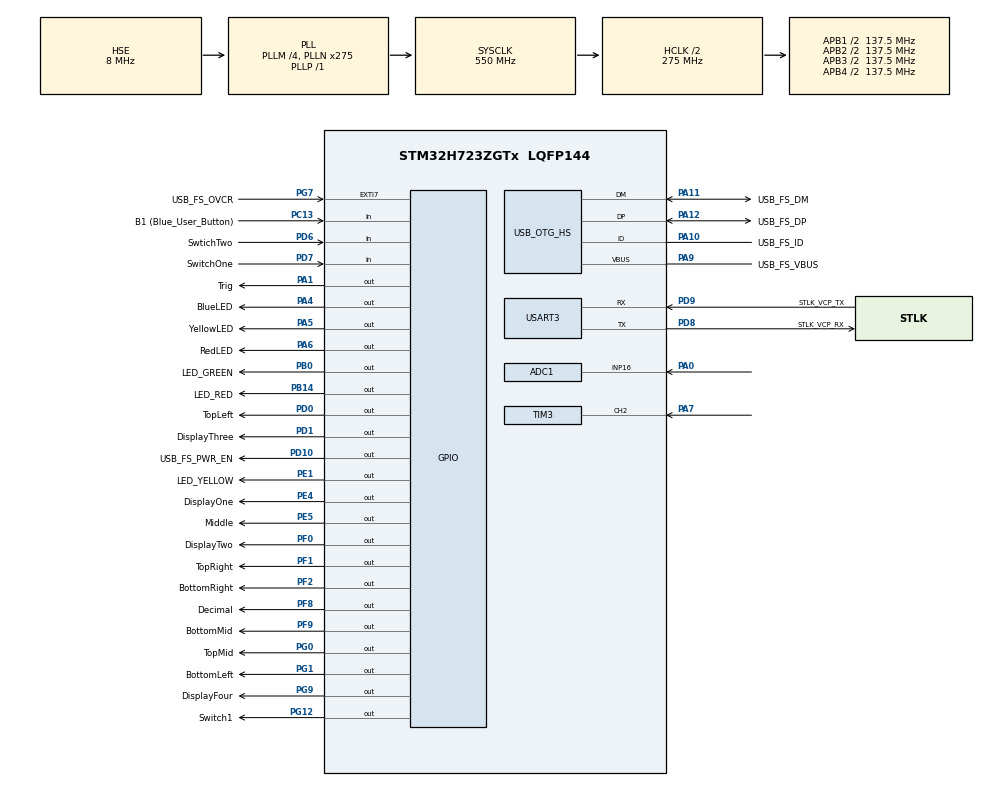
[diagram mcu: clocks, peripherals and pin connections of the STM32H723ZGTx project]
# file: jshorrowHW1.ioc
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ADC1.Channel-0\#ChannelRegularConversion=ADC_CHANNEL_16
ADC1.ClockPrescaler=ADC_CLOCK_SYNC_PCLK_DIV4
ADC1.ContinuousConvMode=DISABLE
ADC1.NbrOfConversionFlag=1
ADC1.OffsetNumber-0\#ChannelRegularConversion=ADC_OFFSET_NONE
ADC1.OffsetSignedSaturation-0\#ChannelRegularConversion=DISABLE
ADC1.Rank-0\#ChannelRegularConversion=1
ADC1.Resolution=ADC_RESOLUTION_12B
ADC1.SamplingTime-0\#ChannelRegularConversion=ADC_SAMPLETIME_1CYCLE_5
ADC1.master=1
Mcu.Family=STM32H7
Mcu.Name=STM32H723ZGTx
Mcu.Package=LQFP144
NVIC.PriorityGroup=NVIC_PRIORITYGROUP_4
NVIC.TIM2_IRQn=true\:0\:0\:false\:false\:true\:true\:true\:true
PA0.Mode=IN16-Single-Ended
PA0.Signal=ADC1_INP16
PA1.GPIO_Label=Trig
PA1.GPIO_Speed=GPIO_SPEED_FREQ_HIGH
PA1.Signal=GPIO_Output
PA10.GPIO_Label=USB_FS_ID
PA10.Mode=OTG/Dual-Role-Device-FS
PA10.Signal=USB_OTG_HS_ID
PA11.GPIO_Label=USB_FS_DM
PA11.Mode=OTG/Dual-Role-Device-FS
PA11.Signal=USB_OTG_HS_DM
PA12.GPIO_Label=USB_FS_DP
PA12.Mode=OTG/Dual-Role-Device-FS
PA12.Signal=USB_OTG_HS_DP
PA13(JTMS/SWDIO).GPIO_Label=SWDIO
PA13(JTMS/SWDIO).Mode=Trace_Asynchronous_SW
PA13(JTMS/SWDIO).Signal=DEBUG_JTMS-SWDIO
PA14(JTCK/SWCLK).GPIO_Label=SWCLK
PA14(JTCK/SWCLK).Mode=Trace_Asynchronous_SW
PA14(JTCK/SWCLK).Signal=DEBUG_JTCK-SWCLK
PA4.GPIO_Label=BlueLED
PA4.Signal=GPIO_Output
PA5.GPIO_Label=YellowLED
PA5.Signal=GPIO_Output
PA6.GPIO_Label=RedLED
PA6.Signal=GPIO_Output
PA7.Signal=S_TIM3_CH2
PA9.GPIO_Label=USB_FS_VBUS
PA9.Mode=Activate_VBUS_FS
PA9.Signal=USB_OTG_HS_VBUS
PB0.GPIO_Label=LED_GREEN
PB0.Signal=GPIO_Output
PB13.GPIO_Label=RMII_TXD1
PB13.Signal=ETH_TXD1
PB14.GPIO_Label=LED_RED
PB14.Signal=GPIO_Output
PB3(JTDO/TRACESWO).GPIO_Label=SWO
PB3(JTDO/TRACESWO).Mode=Trace_Asynchronous_SW
PB3(JTDO/TRACESWO).Signal=DEBUG_JTDO-SWO
PC1.GPIO_Label=RMII_MDC
PC1.Signal=ETH_MDC
PC13.GPIO_Label=B1 (Blue_User_Button)
PC13.Signal=GPIO_Input
PC14-OSC32_IN.Mode=LSE-External-Oscillator
PC14-OSC32_IN.Signal=RCC_OSC32_IN
PC15-OSC32_OUT.Mode=LSE-External-Oscillator
PC15-OSC32_OUT.Signal=RCC_OSC32_OUT
PC4.GPIO_Label=RMII_RXD0
PC4.Signal=ETH_RXD0
PC5.GPIO_Label=RMII_RXD1
PC5.Signal=ETH_RXD1
PD0.GPIO_Label=TopLeft
PD0.Signal=GPIO_Output
PD1.GPIO_Label=DisplayThree
PD1.Signal=GPIO_Output
PD10.GPIO_Label=USB_FS_PWR_EN
PD10.Signal=GPIO_Output
PD6.GPIO_Label=SwtichTwo
PD6.Signal=GPIO_Input
PD7.GPIO_Label=SwitchOne
PD7.Signal=GPIO_Input
PD8.GPIO_Label=STLK_VCP_RX
PD8.Mode=Asynchronous
PD8.Signal=USART3_TX
PD9.GPIO_Label=STLK_VCP_TX
PD9.Mode=Asynchronous
PD9.Signal=USART3_RX
PE1.GPIO_Label=LED_YELLOW
PE1.Signal=GPIO_Output
PE4.GPIO_Label=DisplayOne
PE4.Signal=GPIO_Output
PE5.GPIO_Label=Middle
PE5.Signal=GPIO_Output
PF0.GPIO_Label=DisplayTwo
PF0.Signal=GPIO_Output
PF1.GPIO_Label=TopRight
PF1.Signal=GPIO_Output
PF2.GPIO_Label=BottomRight
PF2.Signal=GPIO_Output
PF8.GPIO_Label=Decimal
PF8.Signal=GPIO_Output
PF9.GPIO_Label=BottomMid
PF9.Signal=GPIO_Output
PG0.GPIO_Label=TopMid
PG0.Signal=GPIO_Output
PG1.GPIO_Label=BottomLeft
PG1.Signal=GPIO_Output
PG11.GPIO_Label=RMII_TX_EN
PG11.Signal=ETH_TX_EN
PG12.GPIO_Label=Switch1
PG12.Signal=GPIO_Output
PG13.GPIO_Label=RMII_TXD0
PG13.Signal=ETH_TXD0
PG7.GPIO_Label=USB_FS_OVCR
PG7.Signal=GPXTI7
PG9.GPIO_Label=DisplayFour
PG9.Signal=GPIO_Output
PH0-OSC_IN.GPIO_Label=MCO
PH0-OSC_IN.Mode=HSE-External-Clock-Source
PH0-OSC_IN.Signal=RCC_OSC_IN
PH1-OSC_OUT.Signal=RCC_OSC_OUT
ProjectManager.HeapSize=0x200
ProjectManager.StackSize=0x400
ProjectManager.TargetToolchain=STM32CubeIDE
RCC.ADCFreq_Value=96000000
RCC.APB1Freq_Value=137500000
RCC.APB2Freq_Value=137500000
RCC.APB3Freq_Value=137500000
RCC.APB4Freq_Value=137500000
RCC.CortexFreq_Value=550000000
RCC.D1PPRE=RCC_APB3_DIV2
RCC.D2PPRE1=RCC_APB1_DIV2
RCC.D2PPRE2=RCC_APB2_DIV2
RCC.D3PPRE=RCC_APB4_DIV2
RCC.DIVM1=4
RCC.DIVM2=1
RCC.DIVN1=275
RCC.DIVN2=24
RCC.DIVP1=1
RCC.DIVQ1=4
RCC.HCLKFreq_Value=275000000
RCC.HPRE=RCC_HCLK_DIV2
RCC.HSE_VALUE=8000000
RCC.PLLFRACN=0
RCC.PLLSourceVirtual=RCC_PLLSOURCE_HSE
RCC.SYSCLKFreq_VALUE=550000000
RCC.SYSCLKSource=RCC_SYSCLKSOURCE_PLLCLK
RCC.USBCLockSelection=RCC_USBCLKSOURCE_HSI48
RCC.USBFreq_Value=48000000
SH.S_TIM3_CH2.0=TIM3_CH2,Input_Capture2_from_TI2
TIM2.Period=499999
TIM2.Prescaler=549
TIM3.Channel-Input_Capture2_from_TI2=TIM_CHANNEL_2
TIM3.ICPolarity_CH2=TIM_INPUTCHANNELPOLARITY_BOTHEDGE
TIM3.Period=0xffff
TIM3.Prescaler=549
USART3.VirtualMode-Asynchronous=VM_ASYNC
VP_TIM2_VS_ClockSourceINT.Mode=Internal
VP_TIM3_VS_ClockSourceINT.Mode=Internal
board=NUCLEO-H723ZG

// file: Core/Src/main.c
/* USER CODE BEGIN Header */
/**
  ******************************************************************************
  * @file           : main.c
  * @brief          : Main program body
  ******************************************************************************
  * @attention
  *
  * Copyright (c) 2024 STMicroelectronics.
  * All rights reserved.
  *
  * This software is licensed under terms that can be found in the LICENSE file
  * in the root directory of this software component.
  * If no LICENSE file comes with this software, it is provided AS-IS.
  *
  ******************************************************************************
  */
/* USER CODE END Header */
#include "main.h"

/* USER CODE BEGIN Includes */
#include "stdio.h"
/* USER CODE END Includes */

ADC_HandleTypeDef hadc1;

TIM_HandleTypeDef htim2;
TIM_HandleTypeDef htim3;

UART_HandleTypeDef huart3;

/* USER CODE BEGIN PV */

uint32_t upperDisplay = 12;
uint32_t lowerDisplay = 34;

/* USER CODE END PV */

void SystemClock_Config(void);
static void MX_GPIO_Init(void);
static void MX_USART3_UART_Init(void);
static void MX_USB_OTG_HS_USB_Init(void);
static void MX_TIM2_Init(void);
static void MX_TIM3_Init(void);
static void MX_ADC1_Init(void);

int main(void)
{

  /* MCU Configuration--------------------------------------------------------*/

  /* Reset of all peripherals, Initializes the Flash interface and the Systick. */
  HAL_Init();

  /* Configure the system clock */
  SystemClock_Config();

  /* Initialize all configured peripherals */
  MX_GPIO_Init();
  MX_USART3_UART_Init();
  MX_USB_OTG_HS_USB_Init();
  MX_TIM2_Init();
  MX_TIM3_Init();
  MX_ADC1_Init();
  /* USER CODE BEGIN 2 */
#if Switch
  uint32_t check = 60000;
  uint32_t countOne = 0;
  uint32_t countTwo = check / 3;
  uint32_t countThree = countTwo * 2;

  uint16_t displayCount = 0;
  uint8_t displayIndex = 1;
  uint16_t displayCheck = 500;

  //toggleAndPrintGpioState(GPIOG, DisplayFour_Pin, (uint8_t*) "Display: 4");
#endif

  /* USER CODE END 2 */

  /* Infinite loop */
  while (1)
  {

    /* USER CODE BEGIN 3 */
  	HAL_TIM_Base_Start_IT(&htim2);
#if Blinky
  	toggleAndPrintGpioState(GPIOB, LED_RED_Pin, (uint8_t*) "STM: RED LED");
  	HAL_Delay(175);
  	toggleAndPrintGpioState(LED_YELLOW_GPIO_Port, LED_YELLOW_Pin, (uint8_t*) "STM: YELLOW LED");
  	HAL_Delay(175);
  	toggleAndPrintGpioState(GPIOB, LED_GREEN_Pin, (uint8_t*) "STM: GREEN LED");
  	HAL_Delay(175);
  	toggleAndPrintGpioState(GPIOA, YellowLED_Pin, (uint8_t*) "EXTERNAL: YELLOW LED");
  	HAL_Delay(175);
  	toggleAndPrintGpioState(GPIOA, BlueLED_Pin, (uint8_t*) "EXTERNAL: BLUE LED");
  	HAL_Delay(175);
  	toggleAndPrintGpioState(GPIOA, RedLED_Pin, (uint8_t*) "EXTERNAL: RED LED");
  	HAL_Delay(175);
#endif
#if Switch
  	// Check switches to see if things need to flip
  	// This runs so fast and there isnt a need for acuracy (like latching)
  	// so no need to debounce
  	switchToggle(GPIOD,
								 SwitchOne_Pin,
								 GPIOA,
								 YellowLED_Pin,
								 (uint8_t*) "External: Yellow");
  	switchToggle(GPIOD,
								 SwtichTwo_Pin                                                                                                                                                                ,
								 GPIOA,
								 BlueLED_Pin,
								 (uint8_t*) "External: Blue");
  	switchToggle(GPIOG,
								 Switch1_Pin                                                                                                                                                                ,
								 GPIOA,
								 RedLED_Pin,
								 (uint8_t*) "External: RED");

  	// This blinks the STM leds
  	// Just do some general incrementing in main because i dont want to hold up anything else
  	// Print the temp whever you toggle the green LED
  	countOne += 1;
  	countTwo += 1;
  	countThree += 1;
  	if (countOne > check)
  	{
  		toggleAndPrintGpioState(GPIOB, LED_RED_Pin, (uint8_t*) "STM: RED LED");
  		countOne = 0;
  	}
  	if (countTwo > check)
		{
  		toggleAndPrintGpioState(LED_YELLOW_GPIO_Port, LED_YELLOW_Pin, (uint8_t*) "STM: YELLOW LED");
			countTwo = 0;
		}
  	if (countThree > check)
		{
  		toggleAndPrintGpioState(GPIOB, LED_GREEN_Pin, (uint8_t*) "STM: GREEN LED");
			countThree = 0;
			printTemp();
		}

  	// Logic to display different numbers on the display
  	// Could be better but it works
  	displayCount += 1;

  	if (displayCount >= displayCheck)
  	{
  		displayCount = 0;
  		displayIndex += 1;
  	}
  	if (displayIndex == 3)
  	{
  		setDecimal(1);
  	}
  	else
  	{
  		setDecimal(0);
  	}

  	if (displayIndex >= 5)
  	{
  		displayIndex = 0;
  	}

  	displayOneNumber((lowerDisplay + (100 * upperDisplay)), displayIndex);
#endif

  }
  /* USER CODE END 3 */
}

void SystemClock_Config(void)
{
  RCC_OscInitTypeDef RCC_OscInitStruct = {0};
  RCC_ClkInitTypeDef RCC_ClkInitStruct = {0};

  /** Supply configuration update enable
  */
  HAL_PWREx_ConfigSupply(PWR_LDO_SUPPLY);

  /** Configure the main internal regulator output voltage
  */
  __HAL_PWR_VOLTAGESCALING_CONFIG(PWR_REGULATOR_VOLTAGE_SCALE0);

  while(!__HAL_PWR_GET_FLAG(PWR_FLAG_VOSRDY)) {}

  /** Initializes the RCC Oscillators according to the specified parameters
  * in the RCC_OscInitTypeDef structure.
  */
  RCC_OscInitStruct.OscillatorType = RCC_OSCILLATORTYPE_HSI48|RCC_OSCILLATORTYPE_HSE;
  RCC_OscInitStruct.HSEState = RCC_HSE_BYPASS;
  RCC_OscInitStruct.HSI48State = RCC_HSI48_ON;
  RCC_OscInitStruct.PLL.PLLState = RCC_PLL_ON;
  RCC_OscInitStruct.PLL.PLLSource = RCC_PLLSOURCE_HSE;
  RCC_OscInitStruct.PLL.PLLM = 4;
  RCC_OscInitStruct.PLL.PLLN = 275;
  RCC_OscInitStruct.PLL.PLLP = 1;
  RCC_OscInitStruct.PLL.PLLQ = 4;
  RCC_OscInitStruct.PLL.PLLR = 2;
  RCC_OscInitStruct.PLL.PLLRGE = RCC_PLL1VCIRANGE_1;
  RCC_OscInitStruct.PLL.PLLVCOSEL = RCC_PLL1VCOWIDE;
  RCC_OscInitStruct.PLL.PLLFRACN = 0;
  if (HAL_RCC_OscConfig(&RCC_OscInitStruct) != HAL_OK)
  {
    Error_Handler();
  }

  /** Initializes the CPU, AHB and APB buses clocks
  */
  RCC_ClkInitStruct.ClockType = RCC_CLOCKTYPE_HCLK|RCC_CLOCKTYPE_SYSCLK
                              |RCC_CLOCKTYPE_PCLK1|RCC_CLOCKTYPE_PCLK2
                              |RCC_CLOCKTYPE_D3PCLK1|RCC_CLOCKTYPE_D1PCLK1;
  RCC_ClkInitStruct.SYSCLKSource = RCC_SYSCLKSOURCE_PLLCLK;
  RCC_ClkInitStruct.SYSCLKDivider = RCC_SYSCLK_DIV1;
  RCC_ClkInitStruct.AHBCLKDivider = RCC_HCLK_DIV2;
  RCC_ClkInitStruct.APB3CLKDivider = RCC_APB3_DIV2;
  RCC_ClkInitStruct.APB1CLKDivider = RCC_APB1_DIV2;
  RCC_ClkInitStruct.APB2CLKDivider = RCC_APB2_DIV2;
  RCC_ClkInitStruct.APB4CLKDivider = RCC_APB4_DIV2;

  if (HAL_RCC_ClockConfig(&RCC_ClkInitStruct, FLASH_LATENCY_3) != HAL_OK)
  {
    Error_Handler();
  }
}

static void MX_ADC1_Init(void)
{

  ADC_MultiModeTypeDef multimode = {0};
  ADC_ChannelConfTypeDef sConfig = {0};

  /** Common config
  */
  hadc1.Instance = ADC1;
  hadc1.Init.ClockPrescaler = ADC_CLOCK_SYNC_PCLK_DIV4;
  hadc1.Init.Resolution = ADC_RESOLUTION_12B;
  hadc1.Init.ScanConvMode = ADC_SCAN_DISABLE;
  hadc1.Init.EOCSelection = ADC_EOC_SINGLE_CONV;
  hadc1.Init.LowPowerAutoWait = DISABLE;
  hadc1.Init.ContinuousConvMode = DISABLE;
  hadc1.Init.NbrOfConversion = 1;
  hadc1.Init.DiscontinuousConvMode = DISABLE;
  hadc1.Init.ExternalTrigConv = ADC_SOFTWARE_START;
  hadc1.Init.ExternalTrigConvEdge = ADC_EXTERNALTRIGCONVEDGE_NONE;
  hadc1.Init.ConversionDataManagement = ADC_CONVERSIONDATA_DR;
  hadc1.Init.Overrun = ADC_OVR_DATA_PRESERVED;
  hadc1.Init.LeftBitShift = ADC_LEFTBITSHIFT_NONE;
  hadc1.Init.OversamplingMode = DISABLE;
  if (HAL_ADC_Init(&hadc1) != HAL_OK)
  {
    Error_Handler();
  }

  /** Configure the ADC multi-mode
  */
  multimode.Mode = ADC_MODE_INDEPENDENT;
  if (HAL_ADCEx_MultiModeConfigChannel(&hadc1, &multimode) != HAL_OK)
  {
    Error_Handler();
  }

  /** Configure Regular Channel
  */
  sConfig.Channel = ADC_CHANNEL_16;
  sConfig.Rank = ADC_REGULAR_RANK_1;
  sConfig.SamplingTime = ADC_SAMPLETIME_1CYCLE_5;
  sConfig.SingleDiff = ADC_SINGLE_ENDED;
  sConfig.OffsetNumber = ADC_OFFSET_NONE;
  sConfig.Offset = 0;
  sConfig.OffsetSignedSaturation = DISABLE;
  if (HAL_ADC_ConfigChannel(&hadc1, &sConfig) != HAL_OK)
  {
    Error_Handler();
  }

}

static void MX_TIM2_Init(void)
{

  TIM_ClockConfigTypeDef sClockSourceConfig = {0};
  TIM_MasterConfigTypeDef sMasterConfig = {0};

  htim2.Instance = TIM2;
  htim2.Init.Prescaler = 549;
  htim2.Init.CounterMode = TIM_COUNTERMODE_UP;
  htim2.Init.Period = 499999;
  htim2.Init.ClockDivision = TIM_CLOCKDIVISION_DIV1;
  htim2.Init.AutoReloadPreload = TIM_AUTORELOAD_PRELOAD_DISABLE;
  if (HAL_TIM_Base_Init(&htim2) != HAL_OK)
  {
    Error_Handler();
  }
  sClockSourceConfig.ClockSource = TIM_CLOCKSOURCE_INTERNAL;
  if (HAL_TIM_ConfigClockSource(&htim2, &sClockSourceConfig) != HAL_OK)
  {
    Error_Handler();
  }
  sMasterConfig.MasterOutputTrigger = TIM_TRGO_RESET;
  sMasterConfig.MasterSlaveMode = TIM_MASTERSLAVEMODE_DISABLE;
  if (HAL_TIMEx_MasterConfigSynchronization(&htim2, &sMasterConfig) != HAL_OK)
  {
    Error_Handler();
  }

}

static void MX_TIM3_Init(void)
{

  TIM_ClockConfigTypeDef sClockSourceConfig = {0};
  TIM_MasterConfigTypeDef sMasterConfig = {0};
  TIM_IC_InitTypeDef sConfigIC = {0};

  htim3.Instance = TIM3;
  htim3.Init.Prescaler = 549;
  htim3.Init.CounterMode = TIM_COUNTERMODE_UP;
  htim3.Init.Period = 0xffff;
  htim3.Init.ClockDivision = TIM_CLOCKDIVISION_DIV1;
  htim3.Init.AutoReloadPreload = TIM_AUTORELOAD_PRELOAD_DISABLE;
  if (HAL_TIM_Base_Init(&htim3) != HAL_OK)
  {
    Error_Handler();
  }
  sClockSourceConfig.ClockSource = TIM_CLOCKSOURCE_INTERNAL;
  if (HAL_TIM_ConfigClockSource(&htim3, &sClockSourceConfig) != HAL_OK)
  {
    Error_Handler();
  }
  if (HAL_TIM_IC_Init(&htim3) != HAL_OK)
  {
    Error_Handler();
  }
  sMasterConfig.MasterOutputTrigger = TIM_TRGO_RESET;
  sMasterConfig.MasterSlaveMode = TIM_MASTERSLAVEMODE_DISABLE;
  if (HAL_TIMEx_MasterConfigSynchronization(&htim3, &sMasterConfig) != HAL_OK)
  {
    Error_Handler();
  }
  sConfigIC.ICPolarity = TIM_INPUTCHANNELPOLARITY_BOTHEDGE;
  sConfigIC.ICSelection = TIM_ICSELECTION_DIRECTTI;
  sConfigIC.ICPrescaler = TIM_ICPSC_DIV1;
  sConfigIC.ICFilter = 0;
  if (HAL_TIM_IC_ConfigChannel(&htim3, &sConfigIC, TIM_CHANNEL_2) != HAL_OK)
  {
    Error_Handler();
  }

}

static void MX_USART3_UART_Init(void)
{

  huart3.Instance = USART3;
  huart3.Init.BaudRate = 115200;
  huart3.Init.WordLength = UART_WORDLENGTH_8B;
  huart3.Init.StopBits = UART_STOPBITS_1;
  huart3.Init.Parity = UART_PARITY_NONE;
  huart3.Init.Mode = UART_MODE_TX_RX;
  huart3.Init.HwFlowCtl = UART_HWCONTROL_NONE;
  huart3.Init.OverSampling = UART_OVERSAMPLING_16;
  huart3.Init.OneBitSampling = UART_ONE_BIT_SAMPLE_DISABLE;
  huart3.Init.ClockPrescaler = UART_PRESCALER_DIV1;
  huart3.AdvancedInit.AdvFeatureInit = UART_ADVFEATURE_NO_INIT;
  if (HAL_UART_Init(&huart3) != HAL_OK)
  {
    Error_Handler();
  }
  if (HAL_UARTEx_SetTxFifoThreshold(&huart3, UART_TXFIFO_THRESHOLD_1_8) != HAL_OK)
  {
    Error_Handler();
  }
  if (HAL_UARTEx_SetRxFifoThreshold(&huart3, UART_RXFIFO_THRESHOLD_1_8) != HAL_OK)
  {
    Error_Handler();
  }
  if (HAL_UARTEx_DisableFifoMode(&huart3) != HAL_OK)
  {
    Error_Handler();
  }

}

static void MX_USB_OTG_HS_USB_Init(void)
{

}

static void MX_GPIO_Init(void)
{
  GPIO_InitTypeDef GPIO_InitStruct = {0};

  /* GPIO Ports Clock Enable */
  __HAL_RCC_GPIOE_CLK_ENABLE();
  __HAL_RCC_GPIOC_CLK_ENABLE();
  __HAL_RCC_GPIOF_CLK_ENABLE();
  __HAL_RCC_GPIOH_CLK_ENABLE();
  __HAL_RCC_GPIOA_CLK_ENABLE();
  __HAL_RCC_GPIOB_CLK_ENABLE();
  __HAL_RCC_GPIOG_CLK_ENABLE();
  __HAL_RCC_GPIOD_CLK_ENABLE();

  /*Configure GPIO pin Output Level */
  HAL_GPIO_WritePin(GPIOE, DisplayOne_Pin|Middle_Pin|LED_YELLOW_Pin, GPIO_PIN_RESET);

  /*Configure GPIO pin Output Level */
  HAL_GPIO_WritePin(GPIOF, DisplayTwo_Pin|TopRight_Pin|BottomRight_Pin|Decimal_Pin
                          |BottomMid_Pin, GPIO_PIN_RESET);

  /*Configure GPIO pin Output Level */
  HAL_GPIO_WritePin(GPIOA, Trig_Pin|BlueLED_Pin|YellowLED_Pin|RedLED_Pin, GPIO_PIN_RESET);

  /*Configure GPIO pin Output Level */
  HAL_GPIO_WritePin(GPIOB, LED_GREEN_Pin|LED_RED_Pin, GPIO_PIN_RESET);

  /*Configure GPIO pin Output Level */
  HAL_GPIO_WritePin(GPIOG, TopMid_Pin|BottomLeft_Pin|DisplayFour_Pin|Switch1_Pin, GPIO_PIN_RESET);

  /*Configure GPIO pin Output Level */
  HAL_GPIO_WritePin(GPIOD, USB_FS_PWR_EN_Pin|TopLeft_Pin|DisplayThree_Pin, GPIO_PIN_RESET);

  /*Configure GPIO pins : DisplayOne_Pin Middle_Pin LED_YELLOW_Pin */
  GPIO_InitStruct.Pin = DisplayOne_Pin|Middle_Pin|LED_YELLOW_Pin;
  GPIO_InitStruct.Mode = GPIO_MODE_OUTPUT_PP;
  GPIO_InitStruct.Pull = GPIO_NOPULL;
  GPIO_InitStruct.Speed = GPIO_SPEED_FREQ_LOW;
  HAL_GPIO_Init(GPIOE, &GPIO_InitStruct);

  /*Configure GPIO pin : B1_Pin */
  GPIO_InitStruct.Pin = B1_Pin;
  GPIO_InitStruct.Mode = GPIO_MODE_INPUT;
  GPIO_InitStruct.Pull = GPIO_NOPULL;
  HAL_GPIO_Init(B1_GPIO_Port, &GPIO_InitStruct);

  /*Configure GPIO pins : DisplayTwo_Pin TopRight_Pin BottomRight_Pin Decimal_Pin
                           BottomMid_Pin */
  GPIO_InitStruct.Pin = DisplayTwo_Pin|TopRight_Pin|BottomRight_Pin|Decimal_Pin
                          |BottomMid_Pin;
  GPIO_InitStruct.Mode = GPIO_MODE_OUTPUT_PP;
  GPIO_InitStruct.Pull = GPIO_NOPULL;
  GPIO_InitStruct.Speed = GPIO_SPEED_FREQ_LOW;
  HAL_GPIO_Init(GPIOF, &GPIO_InitStruct);

  /*Configure GPIO pins : RMII_MDC_Pin RMII_RXD0_Pin RMII_RXD1_Pin */
  GPIO_InitStruct.Pin = RMII_MDC_Pin|RMII_RXD0_Pin|RMII_RXD1_Pin;
  GPIO_InitStruct.Mode = GPIO_MODE_AF_PP;
  GPIO_InitStruct.Pull = GPIO_NOPULL;
  GPIO_InitStruct.Speed = GPIO_SPEED_FREQ_LOW;
  GPIO_InitStruct.Alternate = GPIO_AF11_ETH;
  HAL_GPIO_Init(GPIOC, &GPIO_InitStruct);

  /*Configure GPIO pin : Trig_Pin */
  GPIO_InitStruct.Pin = Trig_Pin;
  GPIO_InitStruct.Mode = GPIO_MODE_OUTPUT_PP;
  GPIO_InitStruct.Pull = GPIO_NOPULL;
  GPIO_InitStruct.Speed = GPIO_SPEED_FREQ_HIGH;
  HAL_GPIO_Init(Trig_GPIO_Port, &GPIO_InitStruct);

  /*Configure GPIO pins : BlueLED_Pin YellowLED_Pin RedLED_Pin */
  GPIO_InitStruct.Pin = BlueLED_Pin|YellowLED_Pin|RedLED_Pin;
  GPIO_InitStruct.Mode = GPIO_MODE_OUTPUT_PP;
  GPIO_InitStruct.Pull = GPIO_NOPULL;
  GPIO_InitStruct.Speed = GPIO_SPEED_FREQ_LOW;
  HAL_GPIO_Init(GPIOA, &GPIO_InitStruct);

  /*Configure GPIO pins : LED_GREEN_Pin LED_RED_Pin */
  GPIO_InitStruct.Pin = LED_GREEN_Pin|LED_RED_Pin;
  GPIO_InitStruct.Mode = GPIO_MODE_OUTPUT_PP;
  GPIO_InitStruct.Pull = GPIO_NOPULL;
  GPIO_InitStruct.Speed = GPIO_SPEED_FREQ_LOW;
  HAL_GPIO_Init(GPIOB, &GPIO_InitStruct);

  /*Configure GPIO pins : TopMid_Pin BottomLeft_Pin DisplayFour_Pin Switch1_Pin */
  GPIO_InitStruct.Pin = TopMid_Pin|BottomLeft_Pin|DisplayFour_Pin|Switch1_Pin;
  GPIO_InitStruct.Mode = GPIO_MODE_OUTPUT_PP;
  GPIO_InitStruct.Pull = GPIO_NOPULL;
  GPIO_InitStruct.Speed = GPIO_SPEED_FREQ_LOW;
  HAL_GPIO_Init(GPIOG, &GPIO_InitStruct);

  /*Configure GPIO pin : RMII_TXD1_Pin */
  GPIO_InitStruct.Pin = RMII_TXD1_Pin;
  GPIO_InitStruct.Mode = GPIO_MODE_AF_PP;
  GPIO_InitStruct.Pull = GPIO_NOPULL;
  GPIO_InitStruct.Speed = GPIO_SPEED_FREQ_LOW;
  GPIO_InitStruct.Alternate = GPIO_AF11_ETH;
  HAL_GPIO_Init(RMII_TXD1_GPIO_Port, &GPIO_InitStruct);

  /*Configure GPIO pins : USB_FS_PWR_EN_Pin TopLeft_Pin DisplayThree_Pin */
  GPIO_InitStruct.Pin = USB_FS_PWR_EN_Pin|TopLeft_Pin|DisplayThree_Pin;
  GPIO_InitStruct.Mode = GPIO_MODE_OUTPUT_PP;
  GPIO_InitStruct.Pull = GPIO_NOPULL;
  GPIO_InitStruct.Speed = GPIO_SPEED_FREQ_LOW;
  HAL_GPIO_Init(GPIOD, &GPIO_InitStruct);

  /*Configure GPIO pin : USB_FS_OVCR_Pin */
  GPIO_InitStruct.Pin = USB_FS_OVCR_Pin;
  GPIO_InitStruct.Mode = GPIO_MODE_IT_RISING;
  GPIO_InitStruct.Pull = GPIO_NOPULL;
  HAL_GPIO_Init(USB_FS_OVCR_GPIO_Port, &GPIO_InitStruct);

  /*Configure GPIO pin : USB_FS_VBUS_Pin */
  GPIO_InitStruct.Pin = USB_FS_VBUS_Pin;
  GPIO_InitStruct.Mode = GPIO_MODE_INPUT;
  GPIO_InitStruct.Pull = GPIO_NOPULL;
  HAL_GPIO_Init(USB_FS_VBUS_GPIO_Port, &GPIO_InitStruct);

  /*Configure GPIO pin : USB_FS_ID_Pin */
  GPIO_InitStruct.Pin = USB_FS_ID_Pin;
  GPIO_InitStruct.Mode = GPIO_MODE_AF_PP;
  GPIO_InitStruct.Pull = GPIO_NOPULL;
  GPIO_InitStruct.Speed = GPIO_SPEED_FREQ_LOW;
  GPIO_InitStruct.Alternate = GPIO_AF10_OTG1_HS;
  HAL_GPIO_Init(USB_FS_ID_GPIO_Port, &GPIO_InitStruct);

  /*Configure GPIO pins : SwtichTwo_Pin SwitchOne_Pin */
  GPIO_InitStruct.Pin = SwtichTwo_Pin|SwitchOne_Pin;
  GPIO_InitStruct.Mode = GPIO_MODE_INPUT;
  GPIO_InitStruct.Pull = GPIO_NOPULL;
  HAL_GPIO_Init(GPIOD, &GPIO_InitStruct);

  /*Configure GPIO pins : RMII_TX_EN_Pin RMII_TXD0_Pin */
  GPIO_InitStruct.Pin = RMII_TX_EN_Pin|RMII_TXD0_Pin;
  GPIO_InitStruct.Mode = GPIO_MODE_AF_PP;
  GPIO_InitStruct.Pull = GPIO_NOPULL;
  GPIO_InitStruct.Speed = GPIO_SPEED_FREQ_LOW;
  GPIO_InitStruct.Alternate = GPIO_AF11_ETH;
  HAL_GPIO_Init(GPIOG, &GPIO_InitStruct);

}

/* USER CODE BEGIN 4 */

/*
 * @bried This will print the temp to console
 * 				This will also put temp on 7 seg display
 */
void printTemp()
{
	// Start using adc
	HAL_ADC_Start(&hadc1);

	// Poll for value
	if (HAL_ADC_PollForConversion(&hadc1, 1000000) == HAL_OK)
	{
		uint32_t adcValue = HAL_ADC_GetValue(&hadc1);

		// Running at 3.3 volts with 12 bits of resolution (4095)
		// then convert 10mv per celcius
		float temp = ((adcValue * 320) / 4095.0);

		unsigned int tempAsInt = (unsigned int) temp;

		// Makes it a bit less jumpy because of floating point conversion
		if (tempAsInt != ((unsigned int) (temp - 0.2)))
		{
			tempAsInt -= 1;
		}

		// Dont feel like importing float printing so just print as int,
		// makes displaying easier anyway
		printf("The Temp is: %u\r\n", tempAsInt);

		if (tempAsInt < 100)
		{
			upperDisplay = (uint32_t) tempAsInt;
		}
		else
		{
			upperDisplay = 0;
		}
	}
	HAL_ADC_Stop(&hadc1);
}

/*
 * @brief increments the number on the lower display
 * 				This is for interupt handler
 */
void incrementLowerDisplay()
{
	lowerDisplay += 1;
	if (lowerDisplay >= 100)
	{
		lowerDisplay = 0;
	}
}

/*
 * @brief This will setup a switch to toggle a LED if on/off
 * @param GPIOx_Switch which gpio bank the switch is in
 * @param GPIO_Pin_Switch which pin the switch is
 * @param GPIOx_LED which gpio bank the LED is in
 * @param GPIO_Pin_LED which pin led is
 * @param name The name to print of thats pin
 */
void switchToggle(GPIO_TypeDef *GPIOx_Switch,
										 uint16_t GPIO_Pin_Switch,
										 GPIO_TypeDef *GPIOx_LED,
										 uint16_t GPIO_Pin_LED,
										 uint8_t *name)
{
	if (HAL_GPIO_ReadPin(GPIOx_Switch, GPIO_Pin_Switch) && !HAL_GPIO_ReadPin(GPIOx_LED, GPIO_Pin_LED))
	{
		HAL_GPIO_WritePin(GPIOx_LED, GPIO_Pin_LED, GPIO_PIN_SET);
		printf("%s is set to HIGH\r\n", name);
		return;
	}
	if (!HAL_GPIO_ReadPin(GPIOx_Switch, GPIO_Pin_Switch) && HAL_GPIO_ReadPin(GPIOx_LED, GPIO_Pin_LED))
	{
		HAL_GPIO_WritePin(GPIOx_LED, GPIO_Pin_LED, GPIO_PIN_RESET);
		printf("%s is set to Low\r\n", name);
	}
}

/*
 * @brief Toggles the LED State and prints to uart which was set high
 * @param GPIOx Which bank the GPIO pins are in
 * @param GPIO_Pin The specific gpio pin you are toggling
 * @param name The name of the pin for uart
 */
void toggleAndPrintGpioState(GPIO_TypeDef *GPIOx, uint16_t GPIO_Pin, uint8_t *name)
{
	if (HAL_GPIO_ReadPin(GPIOx, GPIO_Pin))
	{
		HAL_GPIO_WritePin(GPIOx, GPIO_Pin, GPIO_PIN_RESET);
#if printLED
		printf("%s is set to low\r\n", name);
#endif
	}
	else
	{
		HAL_GPIO_WritePin(GPIOx, GPIO_Pin, GPIO_PIN_SET);
#if printLED
		printf("%s is set to high\r\n", name);
#endif
	}
}

/*
 * @brief Sets which single display you want to work with
 * @param display A number from 1-4 to indicate which display you want to use
 */
void setDisplay(uint8_t display)
{
	switch (display)
	{
		case 1:
			HAL_GPIO_WritePin(GPIOE, DisplayOne_Pin, GPIO_PIN_RESET);
			HAL_GPIO_WritePin(GPIOF, DisplayTwo_Pin, GPIO_PIN_SET);
			HAL_GPIO_WritePin(GPIOD, DisplayThree_Pin, GPIO_PIN_SET);
			HAL_GPIO_WritePin(GPIOG, DisplayFour_Pin, GPIO_PIN_SET);
			break;
		case 2:
			HAL_GPIO_WritePin(GPIOE, DisplayOne_Pin, GPIO_PIN_SET);
			HAL_GPIO_WritePin(GPIOF, DisplayTwo_Pin, GPIO_PIN_RESET);
			HAL_GPIO_WritePin(GPIOD, DisplayThree_Pin, GPIO_PIN_SET);
			HAL_GPIO_WritePin(GPIOG, DisplayFour_Pin, GPIO_PIN_SET);
			break;
		case 3:
			HAL_GPIO_WritePin(GPIOE, DisplayOne_Pin, GPIO_PIN_SET);
			HAL_GPIO_WritePin(GPIOF, DisplayTwo_Pin, GPIO_PIN_SET);
			HAL_GPIO_WritePin(GPIOD, DisplayThree_Pin, GPIO_PIN_RESET);
			HAL_GPIO_WritePin(GPIOG, DisplayFour_Pin, GPIO_PIN_SET);
			break;
		case 4:
			HAL_GPIO_WritePin(GPIOE, DisplayOne_Pin, GPIO_PIN_SET);
			HAL_GPIO_WritePin(GPIOF, DisplayTwo_Pin, GPIO_PIN_SET);
			HAL_GPIO_WritePin(GPIOD, DisplayThree_Pin, GPIO_PIN_SET);
			HAL_GPIO_WritePin(GPIOG, DisplayFour_Pin, GPIO_PIN_RESET);
			break;
	}
}

/*
 * @brief This will take apart a 4 digit number and display 1 part on the display designated
 * @param number The 4 digit number you are wanting to display
 * @param display The display and index of the number you want to display on
 */
void displayOneNumber(uint16_t number, uint8_t display)
{
	if (number > 10000)
	{
		return;
	}

	// Does some moding to isolate values
	// Does divion to  bring value to ones place
	uint8_t digitOne = number % 10;
	uint8_t digitTwo = ((number % 100) - digitOne) / 10;
	uint8_t digitThree = ((number % 1000) - digitOne - digitTwo) / 100;
	uint8_t digitFour = (number - digitOne - digitTwo - digitThree) / 1000;

	// Only display One Number
	switch (display)
	{
		case 1:
			setDisplay(1);
				setNumber(digitOne);
			break;
		case 2:
			setDisplay(2);
			setNumber(digitTwo);
			break;
		case 3:
			setDisplay(3);
			setNumber(digitThree);
			break;
		case 4:
			setDisplay(4);
			setNumber(digitFour);
			break;
	}
}

/*
 * @brief Sets/resets decimal pin
 * @param flag Unset decimal if 0, set otherwise
 */
void setDecimal(uint8_t flag)
{
	if (flag == 0)
	{
		HAL_GPIO_WritePin(GPIOF, Decimal_Pin, GPIO_PIN_RESET);
	}
	else
	{
		HAL_GPIO_WritePin(GPIOF, Decimal_Pin, GPIO_PIN_SET);
	}
}

/*
 * @brief Sets up a number for 7 segment display
 * @param A number between 0-9 to set the 7 segment display to
 */
void setNumber(uint8_t number)
{
	switch(number)
	{
		case 0:
			HAL_GPIO_WritePin(GPIOG, BottomLeft_Pin, GPIO_PIN_SET);
			HAL_GPIO_WritePin(GPIOF, BottomMid_Pin, GPIO_PIN_SET);
			HAL_GPIO_WritePin(GPIOF, BottomRight_Pin, GPIO_PIN_SET);

			HAL_GPIO_WritePin(GPIOD, TopLeft_Pin, GPIO_PIN_SET);
			HAL_GPIO_WritePin(GPIOG, TopMid_Pin, GPIO_PIN_SET);
			HAL_GPIO_WritePin(GPIOF, TopRight_Pin, GPIO_PIN_SET);

			HAL_GPIO_WritePin(GPIOE, Middle_Pin, GPIO_PIN_RESET);
			break;
		case 1:
			HAL_GPIO_WritePin(GPIOG, BottomLeft_Pin, GPIO_PIN_RESET);
			HAL_GPIO_WritePin(GPIOF, BottomMid_Pin, GPIO_PIN_RESET);
			HAL_GPIO_WritePin(GPIOF, BottomRight_Pin, GPIO_PIN_SET);

			HAL_GPIO_WritePin(GPIOD, TopLeft_Pin, GPIO_PIN_RESET);
			HAL_GPIO_WritePin(GPIOG, TopMid_Pin, GPIO_PIN_RESET);
			HAL_GPIO_WritePin(GPIOF, TopRight_Pin, GPIO_PIN_SET);

			HAL_GPIO_WritePin(GPIOE, Middle_Pin, GPIO_PIN_RESET);
			break;
		case 2:
			HAL_GPIO_WritePin(GPIOG, BottomLeft_Pin, GPIO_PIN_SET);
			HAL_GPIO_WritePin(GPIOF, BottomMid_Pin, GPIO_PIN_SET);
			HAL_GPIO_WritePin(GPIOF, BottomRight_Pin, GPIO_PIN_RESET);

			HAL_GPIO_WritePin(GPIOD, TopLeft_Pin, GPIO_PIN_RESET);
			HAL_GPIO_WritePin(GPIOG, TopMid_Pin, GPIO_PIN_SET);
			HAL_GPIO_WritePin(GPIOF, TopRight_Pin, GPIO_PIN_SET);

			HAL_GPIO_WritePin(GPIOE, Middle_Pin, GPIO_PIN_SET);
			break;
		case 3:
			HAL_GPIO_WritePin(GPIOG, BottomLeft_Pin, GPIO_PIN_RESET);
			HAL_GPIO_WritePin(GPIOF, BottomMid_Pin, GPIO_PIN_SET);
			HAL_GPIO_WritePin(GPIOF, BottomRight_Pin, GPIO_PIN_SET);

			HAL_GPIO_WritePin(GPIOD, TopLeft_Pin, GPIO_PIN_RESET);
			HAL_GPIO_WritePin(GPIOG, TopMid_Pin, GPIO_PIN_SET);
			HAL_GPIO_WritePin(GPIOF, TopRight_Pin, GPIO_PIN_SET);

			HAL_GPIO_WritePin(GPIOE, Middle_Pin, GPIO_PIN_SET);
			break;
		case 4:
			HAL_GPIO_WritePin(GPIOG, BottomLeft_Pin, GPIO_PIN_RESET);
			HAL_GPIO_WritePin(GPIOF, BottomMid_Pin, GPIO_PIN_RESET);
			HAL_GPIO_WritePin(GPIOF, BottomRight_Pin, GPIO_PIN_SET);

			HAL_GPIO_WritePin(GPIOD, TopLeft_Pin, GPIO_PIN_SET);
			HAL_GPIO_WritePin(GPIOG, TopMid_Pin, GPIO_PIN_RESET);
			HAL_GPIO_WritePin(GPIOF, TopRight_Pin, GPIO_PIN_SET);

			HAL_GPIO_WritePin(GPIOE, Middle_Pin, GPIO_PIN_SET);
			break;
		case 5:
			HAL_GPIO_WritePin(GPIOG, BottomLeft_Pin, GPIO_PIN_RESET);
			HAL_GPIO_WritePin(GPIOF, BottomMid_Pin, GPIO_PIN_SET);
			HAL_GPIO_WritePin(GPIOF, BottomRight_Pin, GPIO_PIN_SET);

			HAL_GPIO_WritePin(GPIOD, TopLeft_Pin, GPIO_PIN_SET);
			HAL_GPIO_WritePin(GPIOG, TopMid_Pin, GPIO_PIN_SET);
			HAL_GPIO_WritePin(GPIOF, TopRight_Pin, GPIO_PIN_RESET);

			HAL_GPIO_WritePin(GPIOE, Middle_Pin, GPIO_PIN_SET);
			break;
		case 6:
			HAL_GPIO_WritePin(GPIOG, BottomLeft_Pin, GPIO_PIN_SET);
			HAL_GPIO_WritePin(GPIOF, BottomMid_Pin, GPIO_PIN_SET);
			HAL_GPIO_WritePin(GPIOF, BottomRight_Pin, GPIO_PIN_SET);

			HAL_GPIO_WritePin(GPIOD, TopLeft_Pin, GPIO_PIN_SET);
			HAL_GPIO_WritePin(GPIOG, TopMid_Pin, GPIO_PIN_SET);
			HAL_GPIO_WritePin(GPIOF, TopRight_Pin, GPIO_PIN_RESET);

			HAL_GPIO_WritePin(GPIOE, Middle_Pin, GPIO_PIN_SET);
			break;
		case 7:
			HAL_GPIO_WritePin(GPIOG, BottomLeft_Pin, GPIO_PIN_RESET);
			HAL_GPIO_WritePin(GPIOF, BottomMid_Pin, GPIO_PIN_RESET);
			HAL_GPIO_WritePin(GPIOF, BottomRight_Pin, GPIO_PIN_SET);

			HAL_GPIO_WritePin(GPIOD, TopLeft_Pin, GPIO_PIN_RESET);
			HAL_GPIO_WritePin(GPIOG, TopMid_Pin, GPIO_PIN_SET);
			HAL_GPIO_WritePin(GPIOF, TopRight_Pin, GPIO_PIN_SET);

			HAL_GPIO_WritePin(GPIOE, Middle_Pin, GPIO_PIN_RESET);
			break;
		case 8:
			HAL_GPIO_WritePin(GPIOG, BottomLeft_Pin, GPIO_PIN_SET);
			HAL_GPIO_WritePin(GPIOF, BottomMid_Pin, GPIO_PIN_SET);
			HAL_GPIO_WritePin(GPIOF, BottomRight_Pin, GPIO_PIN_SET);

			HAL_GPIO_WritePin(GPIOD, TopLeft_Pin, GPIO_PIN_SET);
			HAL_GPIO_WritePin(GPIOG, TopMid_Pin, GPIO_PIN_SET);
			HAL_GPIO_WritePin(GPIOF, TopRight_Pin, GPIO_PIN_SET);

			HAL_GPIO_WritePin(GPIOE, Middle_Pin, GPIO_PIN_SET);
			break;
		case 9:
			HAL_GPIO_WritePin(GPIOG, BottomLeft_Pin, GPIO_PIN_RESET);
			HAL_GPIO_WritePin(GPIOF, BottomMid_Pin, GPIO_PIN_RESET);
			HAL_GPIO_WritePin(GPIOF, BottomRight_Pin, GPIO_PIN_SET);

			HAL_GPIO_WritePin(GPIOD, TopLeft_Pin, GPIO_PIN_SET);
			HAL_GPIO_WritePin(GPIOG, TopMid_Pin, GPIO_PIN_SET);
			HAL_GPIO_WritePin(GPIOF, TopRight_Pin, GPIO_PIN_SET);

			HAL_GPIO_WritePin(GPIOE, Middle_Pin, GPIO_PIN_SET);
			break;
		default:
			break;
	}
}

/*
 * @brief This function will wait a set period of microseconds and return
 *        This will hang
 * @param us Amount of microseconds to wait
 */
void delayUs(uint32_t us)
{
	// get current count and count up to US, tim3 is ticking at 1 microsecond
	uint32_t start = __HAL_TIM_GET_COUNTER(&htim3);
  while ((__HAL_TIM_GET_COUNTER(&htim3) - start) < us);
}

/*
 * @brief This function for printf to print to UART2
 * @param ch The char to be printed
 * @retval int char printed
 */
int __io_putchar(int ch){
	// Transmit on UART3 which is though the USB
	// Transmits 1 char and will time out after 100 milliseconds
	HAL_UART_Transmit(&huart3, (uint8_t *) &ch, 1, 100);
	return ch;
}

/* USER CODE END 4 */

void Error_Handler(void)
{
  __disable_irq();
  while (1)
  {
  }
}
